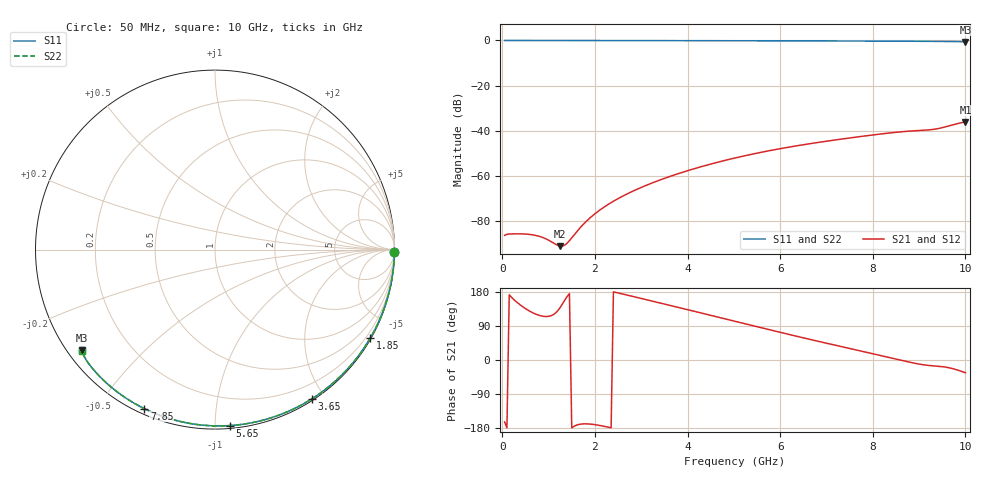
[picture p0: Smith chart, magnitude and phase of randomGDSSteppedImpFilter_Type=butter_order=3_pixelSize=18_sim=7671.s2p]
! freq	dB(S11)	phase(S11)	dB(S12)	phase(S12)
!  dB(S21)	phase(S21)	dB(S22)	phase(S22)
!S-par simulation data
#  GHz  S  DB  R 50
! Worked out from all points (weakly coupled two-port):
!   200 points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, 50 MHz to 10 GHz, reference 50 ohm
!   highest |S21| = -36.07 dB at 10 GHz (marker M1); lowest = -91.2 dB at 1.25 GHz (marker M2)
!   lowest |S11| = -0.6 dB at 10 GHz (marker M3), VSWR 27.14, Z = 2.05 - j16.8 ohm
!   |S11| at or under -10 dB: nowhere
!   |S22| runs from -0.6 to 0.0 dB; largest |S21 - S12| = 0
!   S11 on the Smith chart (normalised r, x): 50 MHz: open; 1.85 GHz: 0.03, -3.79; 3.65 GHz: 0.02, -1.84; 5.65 GHz: 0.02, -1.09; 7.85 GHz: 0.02, -0.65; 10 GHz: 0.04, -0.34
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0.05  -0.00 -0.8  -86.36 -163.4  -86.36 -163.4  -0.00 -0.8
0.65  -0.01 -10.5  -86.11 125.1  -86.11 125.1  -0.01 -10.5
1.25  -0.02 -20.1  -91.15 138.6  -91.15 138.6  -0.02 -20.1
1.75  -0.04 -28.0  -81.44 -168.6  -81.44 -168.6  -0.04 -28.0
1.8  -0.04 -28.8  -80.41 -168.4  -80.41 -168.4  -0.04 -28.8
1.85  -0.04 -29.6  -79.44 -168.7  -79.44 -168.7  -0.04 -29.6
2  -0.04 -31.9  -76.80 -170.6  -76.80 -170.6  -0.04 -31.9
2.15  -0.04 -34.3  -74.50 -173.8  -74.50 -173.8  -0.04 -34.3
2.45  -0.05 -38.9  -70.64 178.4  -70.64 178.4  -0.05 -38.9
2.85  -0.06 -45.0  -66.48 166.8  -66.48 166.8  -0.06 -45.0
3.4  -0.07 -53.3  -61.86 150.6  -61.86 150.6  -0.07 -53.3
3.65  -0.08 -57.0  -60.04 143.2  -60.04 143.2  -0.08 -57.0
4.3  -0.09 -66.4  -55.90 123.9  -55.90 123.9  -0.09 -66.4
5.05  -0.12 -77.0  -51.95 101.4  -51.95 101.4  -0.12 -77.0
5.65  -0.14 -85.2  -49.31 83.4  -49.31 83.4  -0.14 -85.3
6.7  -0.19 -99.2  -45.56 52.8  -45.56 52.8  -0.19 -99.2
7.85  -0.27 -113.9  -42.26 20.7  -42.26 20.7  -0.27 -114.0
8.35  -0.31 -120.2  -41.02 6.7  -41.02 6.7  -0.31 -120.3
9.3  -0.40 -132.3  -39.42 -15.3  -39.42 -15.3  -0.40 -132.3
9.5  -0.43 -134.9  -38.65 -17.4  -38.65 -17.4  -0.42 -134.9
9.75  -0.47 -138.5  -37.27 -23.6  -37.27 -23.6  -0.47 -138.5
10  -0.64 -142.8  -36.07 -33.6  -36.07 -33.6  -0.62 -142.7
